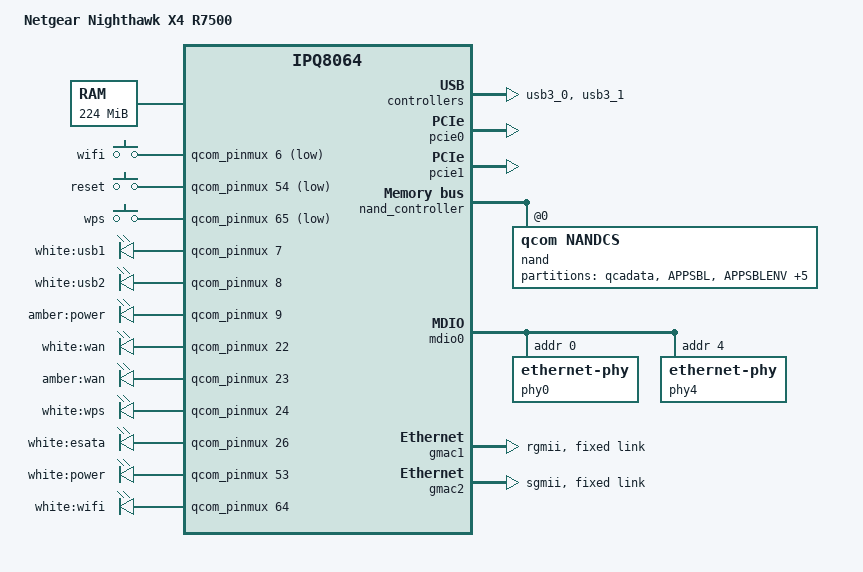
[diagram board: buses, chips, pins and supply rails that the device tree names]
#include "qcom-ipq8064-v1.0.dtsi"

#include <dt-bindings/input/input.h>
#include <dt-bindings/soc/qcom,tcsr.h>

/ {
	model = "Netgear Nighthawk X4 R7500";
	compatible = "netgear,r7500", "qcom,ipq8064";

	memory@0 {
		reg = <0x42000000 0xe000000>;
		device_type = "memory";
	};

	reserved-memory {
		#address-cells = <1>;
		#size-cells = <1>;
		ranges;
		rsvd@41200000 {
			reg = <0x41200000 0x300000>;
			no-map;
		};
	};

	aliases {
		mdio-gpio0 = &mdio0;

		led-boot = &power_white;
		led-failsafe = &power_amber;
		led-running = &power_white;
		led-upgrade = &power_amber;
	};

	chosen {
		bootargs = "rootfstype=squashfs noinitrd";
	};

	keys {
		compatible = "gpio-keys";
		pinctrl-0 = <&button_pins>;
		pinctrl-names = "default";

		wifi {
			label = "wifi";
			gpios = <&qcom_pinmux 6 GPIO_ACTIVE_LOW>;
			linux,code = <KEY_RFKILL>;
			debounce-interval = <60>;
			wakeup-source;
		};

		reset {
			label = "reset";
			gpios = <&qcom_pinmux 54 GPIO_ACTIVE_LOW>;
			linux,code = <KEY_RESTART>;
			debounce-interval = <60>;
			wakeup-source;
		};

		wps {
			label = "wps";
			gpios = <&qcom_pinmux 65 GPIO_ACTIVE_LOW>;
			linux,code = <KEY_WPS_BUTTON>;
			debounce-interval = <60>;
			wakeup-source;
		};
	};

	leds {
		compatible = "gpio-leds";
		pinctrl-0 = <&led_pins>;
		pinctrl-names = "default";

		usb1 {
			label = "white:usb1";
			gpios = <&qcom_pinmux 7 GPIO_ACTIVE_HIGH>;
		};

		usb2 {
			label = "white:usb2";
			gpios = <&qcom_pinmux 8 GPIO_ACTIVE_HIGH>;
		};

		power_amber: power_amber {
			label = "amber:power";
			gpios = <&qcom_pinmux 9 GPIO_ACTIVE_HIGH>;
		};

		wan_white {
			label = "white:wan";
			gpios = <&qcom_pinmux 22 GPIO_ACTIVE_HIGH>;
		};

		wan_amber {
			label = "amber:wan";
			gpios = <&qcom_pinmux 23 GPIO_ACTIVE_HIGH>;
		};

		wps {
			label = "white:wps";
			gpios = <&qcom_pinmux 24 GPIO_ACTIVE_HIGH>;
		};

		esata {
			label = "white:esata";
			gpios = <&qcom_pinmux 26 GPIO_ACTIVE_HIGH>;
		};

		power_white: power_white {
			label = "white:power";
			gpios = <&qcom_pinmux 53 GPIO_ACTIVE_HIGH>;
			default-state = "keep";
		};

		wifi {
			label = "white:wifi";
			gpios = <&qcom_pinmux 64 GPIO_ACTIVE_HIGH>;
		};
	};
};

&qcom_pinmux {
	button_pins: button_pins {
		mux {
			pins = "gpio6", "gpio54", "gpio65";
			function = "gpio";
			drive-strength = <2>;
			bias-pull-up;
		};
	};

	led_pins: led_pins {
		mux {
			pins = "gpio7", "gpio8", "gpio9", "gpio22", "gpio23",
				"gpio24","gpio26", "gpio53", "gpio64";
			function = "gpio";
			drive-strength = <2>;
			bias-pull-up;
		};
	};
};

&gsbi5 {
	status = "disabled";

	spi@1a280000 {
		status = "disabled";
	};
};

&usb3_0 {
	status = "okay";
};

&usb3_1 {
	status = "okay";
};

&pcie0 {
	status = "okay";
};

&pcie1 {
	status = "okay";
	max-link-speed = <1>;
};

&nand_controller {
	status = "okay";

	pinctrl-0 = <&nand_pins>;
	pinctrl-names = "default";

	nand@0 {
		reg = <0>;
		compatible = "qcom,nandcs";

		nand-ecc-strength = <4>;
		nand-bus-width = <8>;
		nand-ecc-step-size = <512>;

		nand-is-boot-medium;
		qcom,boot_pages_size = <0x1180000>;

		partitions {
			compatible = "fixed-partitions";
			#address-cells = <1>;
			#size-cells = <1>;

			qcadata@0 {
				label = "qcadata";
				reg = <0x0000000 0x0c80000>;
				read-only;
			};

			APPSBL@c80000 {
				label = "APPSBL";
				reg = <0x0c80000 0x0500000>;
				read-only;
			};

			APPSBLENV@1180000 {
				label = "APPSBLENV";
				reg = <0x1180000 0x0080000>;
				read-only;
			};

			art: art@1200000 {
				label = "art";
				reg = <0x1200000 0x0140000>;
				read-only;
			};

			kernel@1340000 {
				label = "kernel";
				reg = <0x1340000 0x0400000>;
			};

			ubi@1740000 {
				label = "ubi";
				reg = <0x1740000 0x1600000>;
			};

			netgear@2d40000 {
				label = "netgear";
				reg = <0x2d40000 0x0c00000>;
				read-only;
			};

			reserve@3940000 {
				label = "reserve";
				reg = <0x3940000 0x46c0000>;
				read-only;
			};
		};
	};
};

&mdio0 {
	status = "okay";

	pinctrl-0 = <&mdio0_pins>;
	pinctrl-names = "default";

	phy0: ethernet-phy@0 {
		reg = <0>;
		qca,ar8327-initvals = <
			0x00004 0x7600000   /* PAD0_MODE */
			0x00008 0x1000000   /* PAD5_MODE */
			0x0000c 0x80        /* PAD6_MODE */
			0x000e4 0x6a545     /* MAC_POWER_SEL */
			0x000e0 0xc74164de  /* SGMII_CTRL */
			0x0007c 0x4e        /* PORT0_STATUS */
			0x00094 0x4e        /* PORT6_STATUS */
			>;
	};

	phy4: ethernet-phy@4 {
		reg = <4>;
	};
};

&gmac1 {
	status = "okay";
	phy-mode = "rgmii";
	qcom,id = <1>;

	pinctrl-0 = <&rgmii2_pins>;
	pinctrl-names = "default";

	nvmem-cells = <&macaddr_art_6>;
	nvmem-cell-names = "mac-address";

	fixed-link {
		speed = <1000>;
		full-duplex;
	};
};

&gmac2 {
	status = "okay";
	phy-mode = "sgmii";
	qcom,id = <2>;

	nvmem-cells = <&macaddr_art_0>;
	nvmem-cell-names = "mac-address";

	fixed-link {
		speed = <1000>;
		full-duplex;
	};
};

&tcsr {
	qcom,usb-ctrl-select = <TCSR_USB_SELECT_USB3_DUAL>;
	compatible = "qcom,tcsr";
};

&adm_dma {
	status = "okay";
};

&art {
	compatible = "nvmem-cells";
	#address-cells = <1>;
	#size-cells = <1>;

	macaddr_art_0: macaddr@0 {
		reg = <0x0 0x6>;
	};

	macaddr_art_6: macaddr@6 {
		reg = <0x6 0x6>;
	};
};
